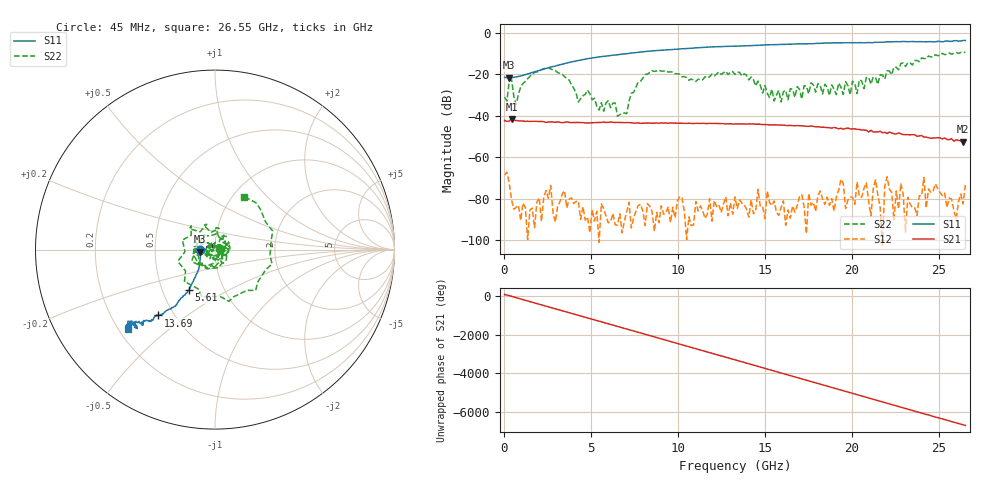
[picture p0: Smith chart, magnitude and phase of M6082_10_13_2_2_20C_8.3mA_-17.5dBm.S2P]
!  2-Port S-parameters saved by WinCal
! VAR MeasName=S-Parameters (CALIBRATED_DATA) read from VNA (C)
! VAR MeasDate=10/16/2015 2:39:28 PM
! VAR NAME=M6082_10_13_2_2_20C_8.3mA_-17.5dBm
! VAR FILENAME=M6082_10_13_2_2_20C_8.3mA_-17.5dBm.S2P
! VAR DATE=10/16/2015 2:39:28 PM
! VAR PHYS_PORTS=2,1
! VAR ObjTypeName=DATASET
! VAR IndexType=Frequency
# Hz S DB R 50
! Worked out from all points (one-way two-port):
!   201 points, 45 MHz to 26.55 GHz, reference 50 ohm
!   highest |S21| = -41.49 dB at 442.5 MHz (marker M1); lowest = -52.5 dB at 26.41 GHz (marker M2)
!   lowest |S11| = -21.6 dB at 310 MHz (marker M3), VSWR 1.18, Z = 42.4 - j0.913 ohm
!   |S11| at or under -10 dB: start of sweep to 7.096 GHz
!   |S22| runs from -40.2 to -9.2 dB; largest |S21 - S12| = 0.0083
!   S11 on the Smith chart (normalised r, x): 45 MHz: 0.84, +0.00; 5.61 GHz: 0.68, -0.33; 13.69 GHz: 0.41, -0.39; 26.55 GHz: 0.24, -0.37
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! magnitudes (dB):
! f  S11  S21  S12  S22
! 45 MHz  -21.4  -42.2  -68.6  -31.0
! 310 MHz  -21.6  -42.5  -72.4  -23.3
! 442.5 MHz  -21.6  -41.5  -80.4  -22.4
! 707.5 MHz  -21.2  -42.2  -84.1  -34.5
! 2.43 GHz  -17.1  -43.1  -76.0  -16.9
! 4.55 GHz  -12.9  -43.3  -83.7  -30.3
! 5.61 GHz  -11.4  -43.2  -82.4  -33.6
! 7.067 GHz  -10.0  -43.2  -86.3  -39.0
! 7.73 GHz  -9.3  -43.4  -83.2  -23.7
! 8.922 GHz  -8.5  -43.6  -91.5  -18.0
! 13.29 GHz  -6.4  -43.9  -79.1  -20.0
! 13.69 GHz  -6.3  -43.9  -82.1  -20.8
! 15.95 GHz  -5.5  -44.4  -84.1  -33.3
! 17.8 GHz  -5.2  -45.0  -81.7  -25.0
! 19.39 GHz  -4.8  -45.9  -70.6  -26.2
! 20.18 GHz  -4.7  -46.3  -82.6  -24.3
! 20.32 GHz  -4.8  -46.5  -71.8  -29.3
! 22.17 GHz  -4.3  -47.8  -75.2  -18.4
! 24.16 GHz  -4.3  -50.3  -69.8  -12.3
! 24.29 GHz  -4.3  -50.2  -84.4  -12.5
! 26.41 GHz  -3.6  -52.5  -82.5  -9.2
! 26.55 GHz  -3.7  -51.9  -73.1  -9.5
